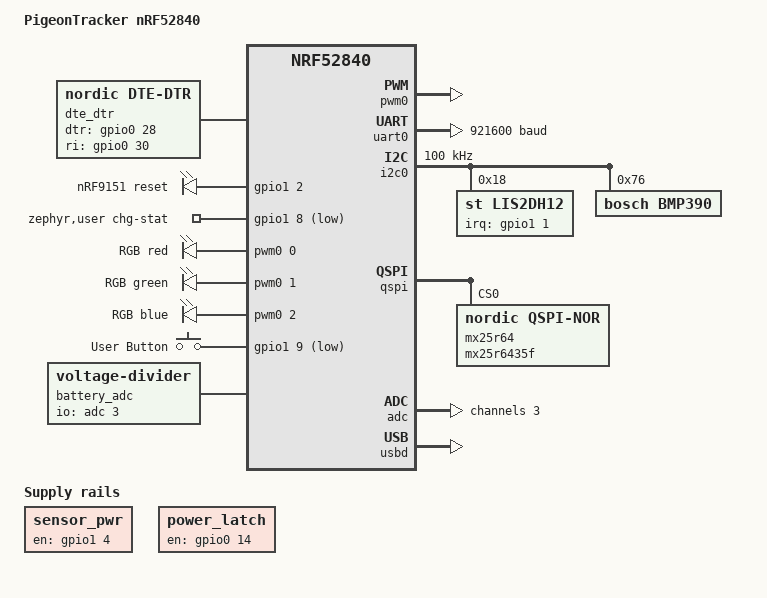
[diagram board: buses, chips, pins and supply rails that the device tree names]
/*
 * PigeonTracker nRF52840 Board Device Tree
 *
 * Copyright (c) 2026 nRFModule
 * SPDX-License-Identifier: Apache-2.0
 *
 * LiveTracker-derived board: no L76 GPS module (GNSS comes from the nRF9151
 * modem's own receiver via the serial-modem AT bridge). USB is test pads
 * only, no connector; CDC console kept for bench bring-up. An MCP73830
 * charger hangs off the USB pads, charging strategy TBD.
 *
 * Pins verified against the nRF_tracker_pigeon v1.0 netlist (2026-07-30),
 * identical to LiveTracker for every shared function.
 *
 * Hardware:
 *   - nRF52840 WLCSP (U3)
 *   - nRF9151 Cellular Modem + GNSS (M1) - via UART + DTR/RI
 *   - MX25R6435F 8MB QSPI Flash (U4)
 *   - LIS2DH12 Accelerometer (U7) - via I2C
 *   - BMP390 Barometer (U8) - via I2C
 *   - MCP73830 Battery Charger (U2) - STAT on P1.08
 *   - MFF2 eSIM on the nRF9151 SIM interface (hand-soldered)
 *   - RGB LED (D2)
 *   - User Button (SW1)
 *
 * Power Architecture:
 *   - VDD_nRF: Main MCU power (always on)
 *   - VCC_BAT_S: nRF9151 power (always on when battery present)
 *   - VDD_sensors: Sensor power (GPIO controlled)
 */

/dts-v1/;
#include <nordic/nrf52840_qiaa.dtsi>
#include <nordic/nrf52840_partition.dtsi>
#include <zephyr/dt-bindings/regulator/nrf5x.h>
#include "pigeontracker_nrf52840-pinctrl.dtsi"
#include <zephyr/dt-bindings/gpio/gpio.h>
#include <zephyr/dt-bindings/i2c/i2c.h>
#include <zephyr/dt-bindings/input/input-event-codes.h>
#include <zephyr/dt-bindings/pwm/pwm.h>

/ {
	model = "PigeonTracker nRF52840";
	compatible = "nrfmodule,pigeontracker-nrf52840";

	chosen {
		zephyr,console = &cdc_acm_uart0;
		zephyr,shell-uart = &cdc_acm_uart0;
		zephyr,uart-mcumgr = &cdc_acm_uart0;
		zephyr,bt-mon-uart = &cdc_acm_uart0;
		zephyr,bt-c2h-uart = &cdc_acm_uart0;
		zephyr,sram = &sram0;
		zephyr,flash = &flash0;
		zephyr,code-partition = &slot0_partition;
		/* Serial Modem UART */
		ncs_sm_uart = &uart0;
	};

	/*
	 * nRF91 modem GNSS — bus-less driver node: the receiver lives in the
	 * nRF9151 and is driven over the existing modem AT link (AT#XGNSS),
	 * so there is no peripheral or pin behind this node.
	 */
	gnss: gnss-nrf91 {
		compatible = "nrfmodule,gnss-nrf91-slm";
		status = "okay";
	};

	/*
	 * Serial Modem DTR/RI GPIO Configuration
	 *
	 * DTR: output from 52840, used to wake modem
	 * RI:  input to 52840, modem signals incoming data
	 */
	dte_dtr: dte_dtr {
		compatible = "nordic,dte-dtr";
		dtr-gpios = <&gpio0 28 GPIO_ACTIVE_HIGH>;
		ri-gpios = <&gpio0 30 GPIO_ACTIVE_HIGH>;
	};

	/* Sensor rail (TPS22916 load switch). regulator-fixed so the app gates it
	 * directly (regulator_enable/disable) and re-inits the chips over PM actions;
	 * boot-on so the I2C sensor drivers can probe at init. */
	sensor_pwr: sensor_pwr {
		compatible = "regulator-fixed";
		regulator-name = "sensor_pwr";
		enable-gpios = <&gpio1 4 GPIO_ACTIVE_HIGH>;
		regulator-boot-on;
		/* startup-delay-us is applied only at boot init; off-on-delay-us is
		 * what regulator_enable() honors on each runtime gate. Set both so the
		 * TPS22916 + sensor POR settle (~50ms) before the I2C re-init. */
		startup-delay-us = <50000>;
		off-on-delay-us = <50000>;
	};

	power_latch: power_latch {
		compatible = "regulator-fixed";
		regulator-name = "power-latch";
		enable-gpios = <&gpio0 14 GPIO_ACTIVE_HIGH>;
		regulator-boot-on;
	};

	/* nRF9151 nRESET via Q2 inverter: active (high) holds the modem in
	 * reset; 1M gate pull-down keeps it released when undriven. */
	modem_control {
		compatible = "gpio-leds";
		n91_rst: n91_rst {
			gpios = <&gpio1 2 GPIO_ACTIVE_HIGH>;
			label = "nRF9151 reset";
		};
	};

	/* MCP73830 STAT: low while charging, Hi-Z otherwise, no external pull */
	zephyr,user {
		chg-stat-gpios = <&gpio1 8 (GPIO_PULL_UP | GPIO_ACTIVE_LOW)>;
	};

	/*
	 * RGB LED (D2 - Common Anode, active low) on PWM0 so the status indicator
	 * can fade/mix colours. PWM_POLARITY_INVERTED -> brightness 100% = full on.
	 */
	rgb_pwm: pwmleds {
		compatible = "pwm-leds";
		pwm_led_red: pwm_led_0 {
			pwms = <&pwm0 0 PWM_MSEC(1) PWM_POLARITY_INVERTED>;
			label = "RGB red";
		};
		pwm_led_green: pwm_led_1 {
			pwms = <&pwm0 1 PWM_MSEC(1) PWM_POLARITY_INVERTED>;
			label = "RGB green";
		};
		pwm_led_blue: pwm_led_2 {
			pwms = <&pwm0 2 PWM_MSEC(1) PWM_POLARITY_INVERTED>;
			label = "RGB blue";
		};
	};

	/*
	 * User Button (SW)
	 * Active low with internal pull-up
	 */
	buttons: buttons {
		compatible = "gpio-keys";
		button0: button_0 {
			gpios = <&gpio1 9 (GPIO_ACTIVE_LOW)>;
			label = "User Button";
			zephyr,code = <INPUT_KEY_0>;
		};
	};

	/*
	 * Battery Voltage Measurement
	 *
	 * Voltage divider (1:2): actual battery voltage = ADC reading * 2
	 */
	battery_adc: battery_adc {
		compatible = "voltage-divider";
		io-channels = <&adc 3>;
		output-ohms = <1000000>;  /* 1M bottom resistor */
		full-ohms = <2000000>;    /* 2M total */
	};

	/* Aliases for common usage */
	aliases {
		pwm-led0 = &pwm_led_red;
		pwm-led1 = &pwm_led_green;
		pwm-led2 = &pwm_led_blue;
		sw0 = &button0;
		sm-uart = &uart0;
		accel0 = &lis2dh12;
		baro0 = &bmp390;
		spi-flash0 = &mx25r64;
		poweroff = &power_latch;
	};
};

/* REG1 DC/DC mode — requires 10µH inductor on DCCH */
&reg1 {
	regulator-initial-mode = <NRF5X_REG_MODE_DCDC>;
};

&gpio0 {
	status = "okay";
};

&gpio1 {
	status = "okay";
};

/* Enable GPIOTE for GPIO interrupt/event support */
&gpiote {
	status = "okay";
};

/* RGB status LED (D2), drives rgb_pwm via three PWM0 channels */
&pwm0 {
	status = "okay";
	pinctrl-0 = <&pwm0_rgb_default>;
	pinctrl-1 = <&pwm0_rgb_sleep>;
	pinctrl-names = "default", "sleep";
};

/*
 * Serial Modem UART (nRF52840 <-> nRF9151)
 */
&uart0 {
	compatible = "nordic,nrf-uarte";
	status = "okay";
	current-speed = <921600>;
	hw-flow-control;
	pinctrl-0 = <&uart0_default>;
	pinctrl-1 = <&uart0_sleep>;
	pinctrl-names = "default", "sleep";
};

/*
 * I2C Bus for Sensors
 *
 * Devices:
 *   - LIS2DH12 @ 0x18 (accelerometer, SDO tied LOW)
 *   - BMP390 @ 0x76 (barometer, SDO tied LOW)
 */
&i2c0 {
	compatible = "nordic,nrf-twim";
	status = "okay";
	clock-frequency = <I2C_BITRATE_STANDARD>;
	pinctrl-0 = <&i2c0_default>;
	pinctrl-1 = <&i2c0_sleep>;
	pinctrl-names = "default", "sleep";

	lis2dh12: lis2dh12@18 {
		compatible = "st,lis2dh12", "st,lis2dh";
		reg = <0x18>;
		irq-gpios = <&gpio1 1 GPIO_ACTIVE_HIGH>;
	};

	/*
	 * BMP390 Barometer
	 *
	 * Supported via BMP388 driver (bosch,bmp390 compatible)
	 */
	bmp390: bmp390@76 {
		compatible = "bosch,bmp390";
		reg = <0x76>;
		odr = "50";
		osr-press = <4>;
		osr-temp = <2>;
	};
};

/*
 * QSPI Flash (MX25R6435F - 8MB)
 *
 * NOTE: Partitions are NOT defined here.
 * Use overlay files to define partitions based on application needs.
 */
&qspi {
	status = "okay";
	pinctrl-0 = <&qspi_default>;
	pinctrl-1 = <&qspi_sleep>;
	pinctrl-names = "default", "sleep";

	mx25r64: mx25r6435f@0 {
		compatible = "nordic,qspi-nor";
		reg = <0>;
		sck-frequency = <8000000>;
		jedec-id = [c2 28 17];
		sfdp-bfp = [
			e5 20 f1 ff  ff ff ff 03  44 eb 08 6b  08 3b 04 bb
			ee ff ff ff  ff ff 00 ff  ff ff 00 ff  0c 20 0f 52
			10 d8 00 ff  23 72 f5 00  82 ed 04 cc  44 83 68 44
			30 b0 30 b0  f7 c4 d5 5c  00 be 29 ff  f0 d0 ff ff
		];
		size = <67108864>; /* 64 Mbit = 8 MB */
		has-dpd;
		t-enter-dpd = <10000>;
		t-exit-dpd = <35000>;
	};
};

/* ADC for battery voltage measurement */
&adc {
	status = "okay";
	#address-cells = <1>;
	#size-cells = <0>;

	channel@3 {
		reg = <3>;
		zephyr,gain = "ADC_GAIN_1_6";
		zephyr,reference = "ADC_REF_INTERNAL";
		zephyr,acquisition-time = <ADC_ACQ_TIME_DEFAULT>;
		zephyr,input-positive = <NRF_SAADC_AIN3>;
		zephyr,resolution = <12>;
	};
};

/* USB - new USBD stack (CONFIG_USB_DEVICE_STACK_NEXT).
 * Console/bring-up only: USB is exposed on test pads, no connector.
 */
zephyr_udc0: &usbd {
	compatible = "nordic,nrf-usbd";
	status = "okay";

	cdc_acm_uart0: cdc_acm_uart0 {
		compatible = "zephyr,cdc-acm-uart";
		label = "PigeonTracker";
	};
};
